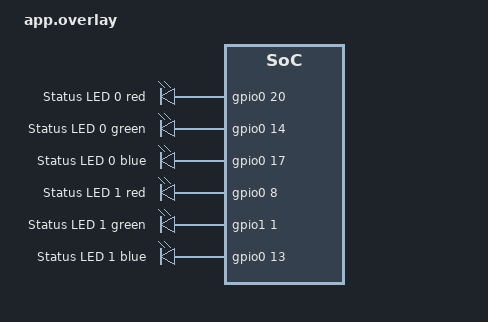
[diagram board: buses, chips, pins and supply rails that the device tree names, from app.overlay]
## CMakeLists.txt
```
cmake_minimum_required(VERSION 3.20.0)

find_package(Zephyr REQUIRED HINTS $ENV{ZEPHYR_BASE})
project(imec_p008_blink_test)

target_sources(app PRIVATE src/main.c)
```

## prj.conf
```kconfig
CONFIG_GPIO=y
CONFIG_SERIAL=n
CONFIG_CONSOLE=n
CONFIG_UART_CONSOLE=n
CONFIG_LOG=n
CONFIG_PRINTK=n
CONFIG_BT=n
CONFIG_PM=n
CONFIG_MAIN_STACK_SIZE=2048
```

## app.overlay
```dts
#include <zephyr/dt-bindings/gpio/gpio.h>

/ {
    aliases {
        status0-red = &status0_red;
        status0-green = &status0_green;
        status0-blue = &status0_blue;
        status1-red = &status1_red;
        status1-green = &status1_green;
        status1-blue = &status1_blue;
    };

    status_leds {
        compatible = "gpio-leds";

        status0_red: status0_red {
            gpios = <&gpio0 20 GPIO_ACTIVE_HIGH>;
            label = "Status LED 0 red";
        };

        status0_green: status0_green {
            gpios = <&gpio0 14 GPIO_ACTIVE_HIGH>;
            label = "Status LED 0 green";
        };

        status0_blue: status0_blue {
            gpios = <&gpio0 17 GPIO_ACTIVE_HIGH>;
            label = "Status LED 0 blue";
        };

        status1_red: status1_red {
            gpios = <&gpio0 8 GPIO_ACTIVE_HIGH>;
            label = "Status LED 1 red";
        };

        status1_green: status1_green {
            gpios = <&gpio1 1 GPIO_ACTIVE_HIGH>;
            label = "Status LED 1 green";
        };

        status1_blue: status1_blue {
            gpios = <&gpio0 13 GPIO_ACTIVE_HIGH>;
            label = "Status LED 1 blue";
        };
    };
};

&uart0 {
    status = "disabled";
    /delete-property/ pinctrl-0;
    /delete-property/ pinctrl-1;
    /delete-property/ pinctrl-names;
};
```

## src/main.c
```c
#include <zephyr/device.h>
#include <zephyr/drivers/gpio.h>
#include <zephyr/kernel.h>

#define BLINK_ON_MS 200
#define BLINK_OFF_MS 200
#define GAP_MS 700

static const struct gpio_dt_spec leds[] = {
    GPIO_DT_SPEC_GET(DT_ALIAS(status0_red), gpios),
    GPIO_DT_SPEC_GET(DT_ALIAS(status0_green), gpios),
    GPIO_DT_SPEC_GET(DT_ALIAS(status0_blue), gpios),
    GPIO_DT_SPEC_GET(DT_ALIAS(status1_red), gpios),
    GPIO_DT_SPEC_GET(DT_ALIAS(status1_green), gpios),
    GPIO_DT_SPEC_GET(DT_ALIAS(status1_blue), gpios),
};

enum {
    LED_0_RED,
    LED_0_GREEN,
    LED_0_BLUE,
    LED_1_RED_P008,
    LED_1_GREEN,
    LED_1_BLUE,
};

static void all_leds_off(void)
{
    for (size_t i = 0; i < ARRAY_SIZE(leds); ++i) {
        gpio_pin_set_dt(&leds[i], 0);
    }
}

static void blink_led(size_t index, int repeats)
{
    for (int i = 0; i < repeats; ++i) {
        all_leds_off();
        gpio_pin_set_dt(&leds[index], 1);
        k_msleep(BLINK_ON_MS);
        gpio_pin_set_dt(&leds[index], 0);
        k_msleep(BLINK_OFF_MS);
    }
}

int main(void)
{
    for (size_t i = 0; i < ARRAY_SIZE(leds); ++i) {
        if (!gpio_is_ready_dt(&leds[i])) {
            return 1;
        }
    }

    for (size_t i = 0; i < ARRAY_SIZE(leds); ++i) {
        int err = gpio_pin_configure_dt(&leds[i], GPIO_OUTPUT_INACTIVE);

        if (err != 0) {
            return 1;
        }
    }

    while (true) {
        blink_led(LED_1_RED_P008, 4);
        k_msleep(GAP_MS);
        blink_led(LED_1_GREEN, 2);
        blink_led(LED_1_BLUE, 2);
        blink_led(LED_0_RED, 1);
        blink_led(LED_0_GREEN, 1);
        blink_led(LED_0_BLUE, 1);
        k_msleep(GAP_MS);
    }

    return 0;
}
```
